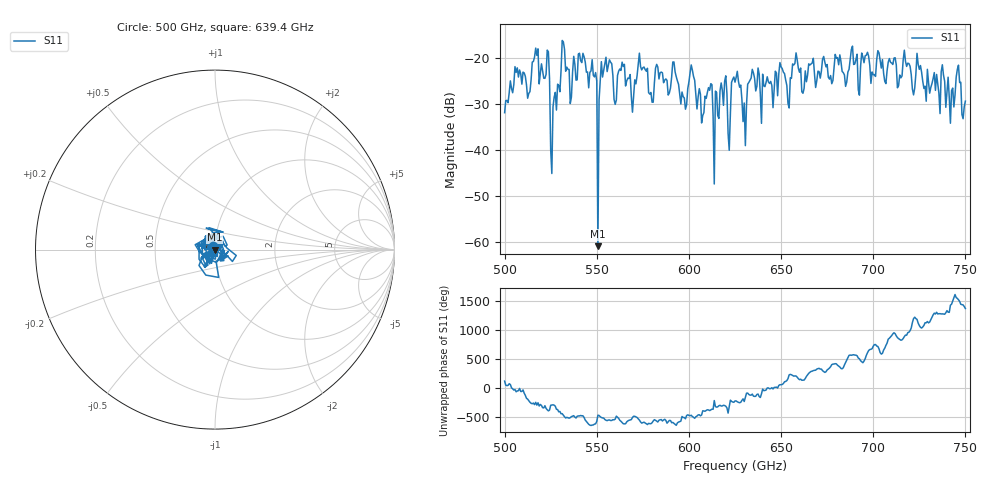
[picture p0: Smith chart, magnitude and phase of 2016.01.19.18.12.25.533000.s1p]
!Created with skrf (http://scikit-rf.org).
# GHz S RI R 50.0
!freq ReS11 ImS11
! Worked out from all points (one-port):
!   401 points, 500 GHz to 750 GHz, reference 50 ohm
!   lowest |S11| = -61.0 dB at 550.6 GHz (marker M1), VSWR 1.00, Z = 50 - j0.0844 ohm
!   |S11| at or under -10 dB: start of sweep to end of sweep
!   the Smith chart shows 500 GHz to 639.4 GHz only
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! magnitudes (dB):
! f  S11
! 500 GHz  -31.9
! 506.9 GHz  -22.1
! 513.1 GHz  -27.7
! 516.9 GHz  -17.8
! 523.1 GHz  -18.2
! 526.2 GHz  -30.6
! 531.2 GHz  -16.1
! 548.1 GHz  -23.7
! 550.6 GHz  -61.0
! 553.8 GHz  -22.6
! 562.5 GHz  -22.3
! 593.8 GHz  -24.9
! 597.5 GHz  -28.7
! 601.9 GHz  -22.6
! 608.1 GHz  -31.9
! 611.2 GHz  -27.0
! 615 GHz  -27.4
! 618.8 GHz  -30.3
! 621.9 GHz  -40.1
! 625 GHz  -25.2
! 630 GHz  -29.8
! 633.8 GHz  -24.3
! 656.2 GHz  -21.2
! 687.5 GHz  -20.3
! 718.8 GHz  -21.1
! 742.5 GHz  -27.0
! 746.2 GHz  -21.5
! 750 GHz  -29.4
